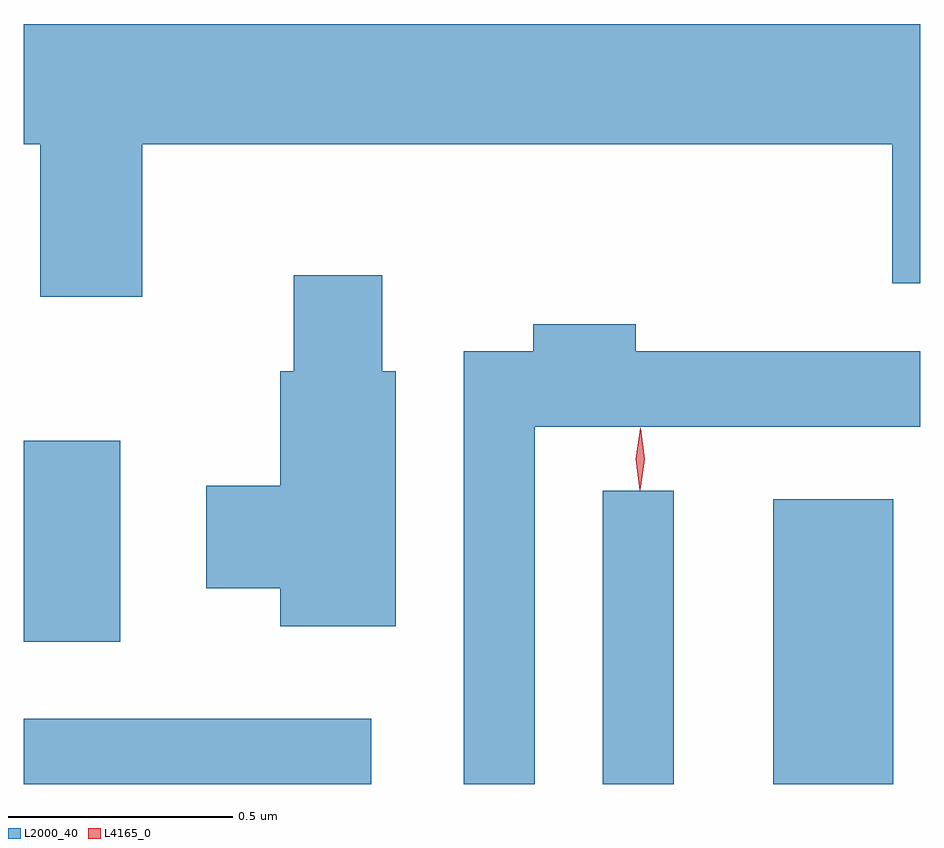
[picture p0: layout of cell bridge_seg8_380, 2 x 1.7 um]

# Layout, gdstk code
import gdstk
lib = gdstk.Library(unit=1e-6, precision=1e-09)
def R(c, l, rs):  # rectangles x0, y0, x1, y1
    for r in rs: c.add(gdstk.rectangle(r[:2], r[2:], *l))
def P(c, l, *ps):  # polygons
    for p in ps: c.add(gdstk.Polygon(p, *l))
L2000_40 = (2000, 40)
L4165_0 = (4165, 0)

bridge_seg8_380 = lib.new_cell('bridge_seg8_380')
R(bridge_seg8_380, L2000_40, [(689.404,1883.829,690.179,1883.974), (690.696,1883.829,690.854,1884.483), (691.076,1883.829,691.344,1884.464), (689.404,1884.146,689.619,1884.594)])
P(bridge_seg8_380, L2000_40, [(689.669,1885.256),(691.341,1885.256),(691.341,1884.946),(691.404,1884.946),(691.404,1885.524),(689.404,1885.524),(689.404,1885.256),(689.441,1885.256),(689.441,1884.916),(689.669,1884.916)],
  [(690.234,1884.749),(690.204,1884.749),(690.204,1884.964),(690.006,1884.964),(690.006,1884.749),(689.976,1884.749),(689.976,1884.494),(689.811,1884.494),(689.811,1884.266),(689.976,1884.266),(689.976,1884.181),(690.234,1884.181)],
  [(690.544,1884.626),(691.404,1884.626),(691.404,1884.794),(690.769,1884.794),(690.769,1884.854),(690.541,1884.854),(690.541,1884.794),(690.386,1884.794),(690.386,1883.829),(690.544,1883.829)])
P(bridge_seg8_380, L4165_0, [(690.778,1884.483),(690.778,1884.484),(690.769,1884.553),(690.779,1884.622),(690.779,1884.623),(690.78,1884.622),(690.789,1884.553),(690.779,1884.484)],
  [(690.778,1884.487),(690.778,1884.487),(690.769,1884.553),(690.779,1884.62),(690.779,1884.62),(690.78,1884.62),(690.789,1884.553),(690.779,1884.487)])

lib.write_gds('bridge_seg8_380.gds')
